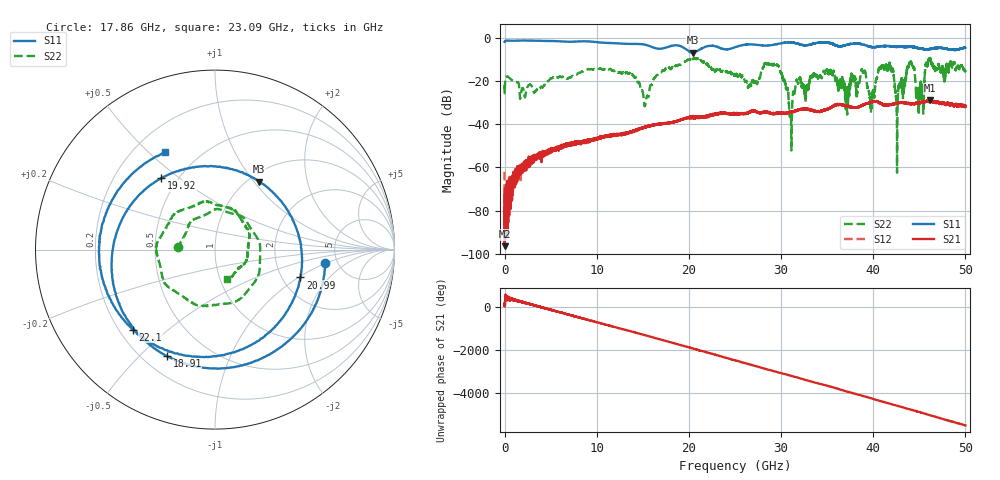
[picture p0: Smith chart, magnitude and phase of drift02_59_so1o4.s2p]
!Created with skrf (http://scikit-rf.org).
# Hz S RI R 50.0
!freq ReS11 ImS11 ReS21 ImS21 ReS12 ImS12 ReS22 ImS22
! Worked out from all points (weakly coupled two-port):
!   10001 points, 300 kHz to 50 GHz, reference 50 ohm
!   highest |S21| = -29.07 dB at 46.17 GHz (marker M1); lowest = -96.5 dB at 15.3 MHz (marker M2)
!   lowest |S11| = -6.9 dB at 20.42 GHz (marker M3), VSWR 2.64, Z = 55.8 + j52.9 ohm
!   |S11| at or under -10 dB: nowhere
!   |S22| runs from -62.5 to -9.2 dB; largest |S21 - S12| = 0.0031
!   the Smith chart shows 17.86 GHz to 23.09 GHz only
!   S11 on the Smith chart (normalised r, x): 17.86 GHz: 3.99, -0.99; 18.91 GHz: 0.29, -0.61; 19.92 GHz: 0.41, +0.43; 20.99 GHz: 2.51, -1.04; 22.1 GHz: 0.26, -0.38; 23.09 GHz: 0.33, +0.56
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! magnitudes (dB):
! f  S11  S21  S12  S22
! 300 kHz  -2.0  -69.8  -62.0  -21.7
! 15.3 MHz  -2.0  -96.5  -72.0  -24.7
! 8.335 GHz  -1.7  -48.2  -48.4  -15.7
! 15.33 GHz  -3.4  -41.2  -41.4  -29.2
! 16.67 GHz  -5.2  -40.0  -40.1  -17.0
! 17.86 GHz  -4.2  -39.5  -39.4  -13.8
! 18.91 GHz  -3.7  -38.3  -38.4  -12.5
! 19.92 GHz  -6.0  -37.0  -37.0  -10.1
! 20.42 GHz  -6.9  -37.1  -37.0  -10.0
! 20.99 GHz  -6.0  -37.0  -36.6  -9.8
! 22.1 GHz  -3.9  -36.4  -36.3  -12.8
! 23.09 GHz  -4.3  -35.1  -35.3  -14.9
! 25 GHz  -4.5  -35.3  -35.2  -17.6
! 29.51 GHz  -3.1  -35.1  -35.2  -12.5
! 31.04 GHz  -2.3  -34.6  -34.6  -34.5
! 33.34 GHz  -3.0  -33.5  -33.4  -18.2
! 38.92 GHz  -3.2  -31.0  -31.0  -16.2
! 39.88 GHz  -4.4  -29.8  -29.9  -27.6
! 41.67 GHz  -3.9  -30.9  -31.1  -13.3
! 42.58 GHz  -4.4  -30.3  -30.3  -40.7
! 46.17 GHz  -5.3  -29.1  -29.2  -9.7
! 50 GHz  -4.7  -32.2  -31.5  -15.6
